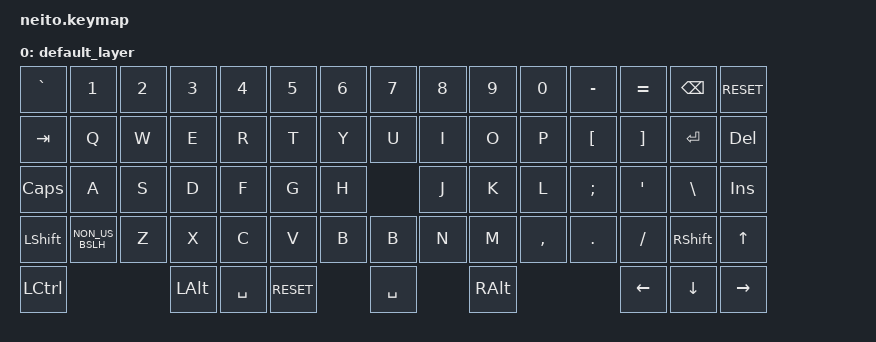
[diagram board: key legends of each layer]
/*
 * Copyright (c) 2021 The ZMK Contributors
 *
 * SPDX-License-Identifier: MIT
 */

#include <behaviors.dtsi>
#include <dt-bindings/zmk/keys.h>

/ {
        keymap {
                compatible = "zmk,keymap";

                default_layer {

                        bindings = <
   &kp GRAVE  &kp N1           &kp N2       &kp N3       &kp N4       &kp N5       &kp N6                    &kp N7       &kp N8       &kp N9       &kp N0       &kp MINUS    &kp EQUAL    &kp BSPC   &kp C_RESET
   &kp TAB    &kp Q            &kp W        &kp E        &kp R        &kp T                     &kp Y        &kp U        &kp I        &kp O        &kp P        &kp LBKT     &kp RBKT     &kp ENTER  &kp DEL
   &kp CAPS   &kp A            &kp S        &kp D        &kp F        &kp G                     &kp H        &kp J        &kp K        &kp L        &kp SEMI     &kp SQT      &kp BSLH                &kp INS                
   &kp LSHFT  &kp NON_US_BSLH  &kp Z        &kp X        &kp C        &kp V        &kp B        &kp B        &kp N        &kp M        &kp COMMA    &kp DOT      &kp SLASH    &kp RSHFT    &kp UP
   &kp LCTRL                                &kp LALT     &kp SPACE    &kp C_RESET                            &kp SPACE                 &kp RALT                               &kp LEFT     &kp DOWN   &kp RIGHT 
                                >;
                        };

        };
};
